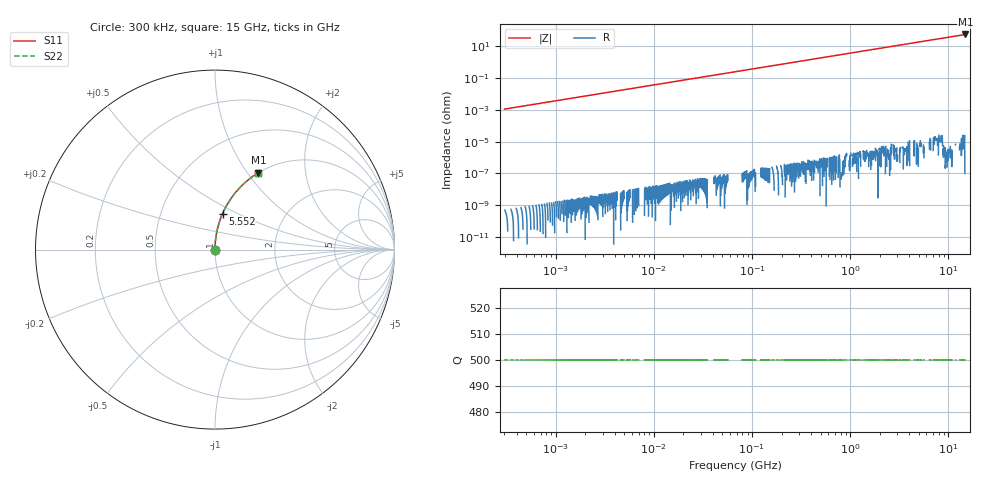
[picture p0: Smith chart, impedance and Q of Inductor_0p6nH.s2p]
! Touchstone file from project
! Exported from ElectronicsDesktop 2016.2.0
!Created with skrf (http://scikit-rf.org).
# GHz S RI R 50.0
!freq ReS11 ImS11 ReS21 ImS21 ReS12 ImS12 ReS22 ImS22
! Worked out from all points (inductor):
!   3500 points, 300 kHz to 15 GHz, reference 50 ohm
!   read as one part in series: L = 600 pH near 318.6 kHz
!   highest |Z| = 56.5 ohm at 15 GHz (marker M1)
!   S11 on the Smith chart (normalised r, x): 300 kHz: 1.00, +0.00; 5.552 GHz: 1.00, +0.42; 15 GHz: 1.00, +1.13
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0.0003  1.18e-10 1.13e-05  1 -1.13e-05  1 -1.13e-05  1.18e-10 1.13e-05
0.00182138  4.67e-09 6.87e-05  1 -6.87e-05  1 -6.87e-05  4.67e-09 6.87e-05
0.00253569  9.18e-09 9.56e-05  1 -9.56e-05  1 -9.56e-05  9.18e-09 9.56e-05
0.00262969  9.86e-09 9.91e-05  1 -9.91e-05  1 -9.91e-05  9.86e-09 9.91e-05
0.00273152  1.06e-08 0.000103  1 -0.000103  1 -0.000103  1.06e-08 0.000103
0.0110749  1.74e-07 0.000418  1 -0.000418  1 -0.000418  1.74e-07 0.000418
0.0672388  6.42e-06 0.00253  1 -0.00253  1 -0.00253  6.42e-06 0.00253
0.189779  5.12e-05 0.00715  0.9999 -0.00715  0.9999 -0.00715  5.12e-05 0.00715
0.407583  0.000236 0.0154  0.9998 -0.0154  0.9998 -0.0154  0.000236 0.0154
0.716537  0.000729 0.027  0.9993 -0.027  0.9993 -0.027  0.000729 0.027
1.15688  0.0019 0.0435  0.9981 -0.0435  0.9981 -0.0435  0.0019 0.0435
1.72753  0.00422 0.0649  0.9958 -0.0649  0.9958 -0.0649  0.00422 0.0649
2.47452  0.00863 0.0925  0.9914 -0.0925  0.9914 -0.0925  0.00863 0.0925
3.09274  0.0134 0.115  0.9866 -0.115  0.9866 -0.115  0.0134 0.115
3.7866  0.02 0.1399  0.98 -0.1399  0.98 -0.1399  0.02 0.1399
4.63311  0.0296 0.1695  0.9704 -0.1695  0.9704 -0.1695  0.0296 0.1695
5.55166  0.042 0.2005  0.958 -0.2005  0.958 -0.2005  0.042 0.2005
7.31437  0.0707 0.2563  0.9293 -0.2563  0.9293 -0.2563  0.0707 0.2563
9.38097  0.1112 0.3143  0.8888 -0.3143  0.8888 -0.3143  0.1112 0.3143
11.6334  0.1613 0.3678  0.8387 -0.3678  0.8387 -0.3678  0.1613 0.3678
14.3267  0.2258 0.4181  0.7742 -0.4181  0.7742 -0.4181  0.2258 0.4181
15  0.2423 0.4285  0.7577 -0.4285  0.7577 -0.4285  0.2423 0.4285
